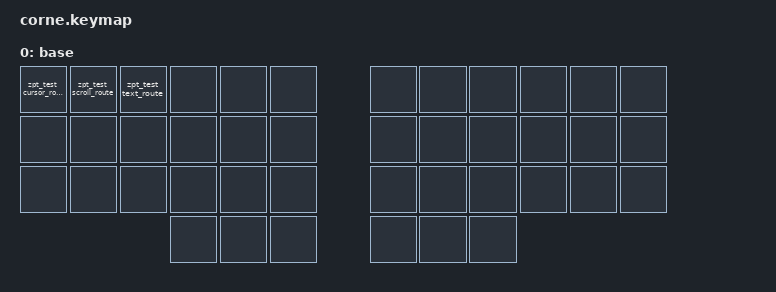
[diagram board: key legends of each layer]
#include <behaviors.dtsi>
#include <dt-bindings/zmk/keys.h>
#include <zephyr/dt-bindings/input/input-event-codes.h>

/ {
    zpt_test_keypress_guard: zpt_test_keypress_guard {
        compatible = "measlesbagel,zpt-keypress-suppression";
        suppress-after-keypress-ms = <40>;
    };

    /* Normalized cursor pipeline: counts to Q16 millimetres, motion gate,
     * acceleration, base gain, sub-pixel quantizer, and report coalescing. */
    zpt_test_resolution_normalize: zpt_test_resolution_normalize {
        compatible = "measlesbagel,zpt-stage-resolution-normalize";
        stable-id = "resolution-normalize";
    };

    zpt_test_motion_gate: zpt_test_motion_gate {
        compatible = "measlesbagel,zpt-stage-coherent-displacement";
        stable-id = "motion-gate";
        enabled;
        activation-distance-micrometers = <220>;
        coherence-percent = <60>;
        qualification-timeout-ms = <160>;
        idle-timeout-ms = <120>;
    };

    zpt_test_cursor_acceleration: zpt_test_cursor_acceleration {
        compatible = "measlesbagel,zpt-stage-cursor-acceleration";
        stable-id = "cursor-acceleration";
        /* Eight curve points: ball speed (mm/s) and sensitivity (percent). */
        curve-speeds-mm-per-s = <0 8 20 45 90 160 260 400>;
        curve-sensitivity-percent = <65 66 73 99 159 225 264 283>;
        speed-rise-ms = <10>;
        speed-fall-ms = <5>;
    };

    zpt_test_cursor_transfer: zpt_test_cursor_transfer {
        compatible = "measlesbagel,zpt-stage-cursor-transfer";
        stable-id = "cursor-transfer";
        scale-multiplier = <1>;
        scale-divisor = <1>;
    };

    zpt_test_cursor_quantizer: zpt_test_cursor_quantizer {
        compatible = "measlesbagel,zpt-stage-cursor-quantizer";
        stable-id = "cursor-quantizer";
    };

    zpt_test_cursor_coalescer: zpt_test_cursor_coalescer {
        compatible = "measlesbagel,zpt-stage-cursor-coalescer";
        stable-id = "cursor-coalescer";
        usb-report-interval-ms = <1>;
        ble-report-interval-ms = <8>;
    };

    zpt_test_cursor_sink: zpt_test_cursor_sink {
        compatible = "measlesbagel,zpt-sink-cursor";
        stable-id = "cursor";
    };

    zpt_test_cursor_pipeline: zpt_test_cursor_pipeline {
        compatible = "measlesbagel,zpt-pipeline";
        stable-id = "test-cursor";
        stages = <&zpt_test_resolution_normalize &zpt_test_motion_gate
                  &zpt_test_cursor_acceleration &zpt_test_cursor_transfer
                  &zpt_test_cursor_quantizer &zpt_test_cursor_coalescer>;
        sink = <&zpt_test_cursor_sink>;
    };

    /* Scroll pipeline: the same estimator and constraint over normalized
     * motion with a steps-per-metre transfer and a wheel sink. */
    zpt_test_scroll_resolution_normalize: zpt_test_scroll_resolution_normalize {
        compatible = "measlesbagel,zpt-stage-resolution-normalize";
        stable-id = "scroll-resolution-normalize";
    };

    zpt_test_scroll_axis_intent: zpt_test_scroll_axis_intent {
        compatible = "measlesbagel,zpt-stage-axis-intent";
        stable-id = "scroll-axis-intent";
        policy = <1>;
        engage-ratio-percent = <300>;
        release-ratio-percent = <180>;
        activation-distance-micrometers = <581>;
        window-ms = <64>;
        idle-timeout-ms = <120>;
        suppression = <&zpt_test_keypress_guard>;
    };

    zpt_test_scroll_constraint: zpt_test_scroll_constraint {
        compatible = "measlesbagel,zpt-stage-axis-constraint";
        stable-id = "scroll-constraint";
        discard-unclassified;
        idle-timeout-ms = <120>;
        fold-interval-ms = <16>;
        suppression = <&zpt_test_keypress_guard>;
    };

    zpt_test_scroll_batcher: zpt_test_scroll_batcher {
        compatible = "measlesbagel,zpt-stage-scroll-batcher";
        stable-id = "scroll-batcher";
        steps-per-meter = <3445>;
        report-interval-ms = <16>;
        suppression = <&zpt_test_keypress_guard>;
    };

    zpt_test_scroll_sink: zpt_test_scroll_sink {
        compatible = "measlesbagel,zpt-sink-scroll";
        stable-id = "scroll";
    };

    zpt_test_scroll_pipeline: zpt_test_scroll_pipeline {
        compatible = "measlesbagel,zpt-pipeline";
        stable-id = "test-scroll";
        stages = <&zpt_test_scroll_resolution_normalize &zpt_test_scroll_axis_intent
                  &zpt_test_scroll_constraint &zpt_test_scroll_batcher>;
        sink = <&zpt_test_scroll_sink>;
    };

    /* Text pipeline: the shared estimator and constraint over normalized
     * motion with a threshold-to-action mapper. */
    zpt_test_text_resolution_normalize: zpt_test_text_resolution_normalize {
        compatible = "measlesbagel,zpt-stage-resolution-normalize";
        stable-id = "text-resolution-normalize";
    };

    zpt_test_text_axis_intent: zpt_test_text_axis_intent {
        compatible = "measlesbagel,zpt-stage-axis-intent";
        stable-id = "text-axis-intent";
        policy = <1>;
        engage-ratio-percent = <150>;
        release-ratio-percent = <90>;
        activation-distance-micrometers = <1270>;
        window-ms = <32>;
        idle-timeout-ms = <40>;
        suppression = <&zpt_test_keypress_guard>;
    };

    zpt_test_text_constraint: zpt_test_text_constraint {
        compatible = "measlesbagel,zpt-stage-axis-constraint";
        stable-id = "text-constraint";
        discard-unclassified;
        idle-timeout-ms = <40>;
        suppression = <&zpt_test_keypress_guard>;
    };

    zpt_test_composed_text_nav: zpt_test_composed_text_nav {
        compatible = "measlesbagel,zpt-stage-text-nav";
        stable-id = "text-nav";
        horizontal-threshold-micrometers = <2721>;
        vertical-threshold-micrometers = <2721>;
        idle-timeout-ms = <40>;
    };

    zpt_test_action_sink: zpt_test_action_sink {
        compatible = "measlesbagel,zpt-sink-action";
        stable-id = "text";
        bindings = <&kp LEFT>, <&kp RIGHT>, <&kp UP>, <&kp DOWN>;
        tap-ms = <5>;
    };

    zpt_test_text_pipeline: zpt_test_text_pipeline {
        compatible = "measlesbagel,zpt-pipeline";
        stable-id = "test-text";
        stages = <&zpt_test_text_resolution_normalize &zpt_test_text_axis_intent
                  &zpt_test_text_constraint &zpt_test_composed_text_nav>;
        sink = <&zpt_test_action_sink>;
    };

    zpt_test_cursor_router: zpt_test_cursor_router {
        compatible = "measlesbagel,zpt-router";
        stable-id = "test-cursor-router";
        pipelines = <&zpt_test_cursor_pipeline &zpt_test_scroll_pipeline &zpt_test_text_pipeline>;
        default-pipeline = <&zpt_test_cursor_pipeline>;

        test-layer-route {
            /* Layer 0 is the only keymap layer; the route stays within range
             * and always selects the smoke cursor pipeline. */
            layers = <0>;
            pipeline = <&zpt_test_cursor_pipeline>;
        };
    };

    zpt_test_cursor_route: zpt_test_cursor_route {
        compatible = "measlesbagel,zpt-behavior-route";
        #binding-cells = <0>;
        router = <&zpt_test_cursor_router>;
        pipeline = <&zpt_test_cursor_pipeline>;
    };

    zpt_test_scroll_route: zpt_test_scroll_route {
        compatible = "measlesbagel,zpt-behavior-route";
        #binding-cells = <0>;
        router = <&zpt_test_cursor_router>;
        pipeline = <&zpt_test_scroll_pipeline>;
    };

    zpt_test_text_route: zpt_test_text_route {
        compatible = "measlesbagel,zpt-behavior-route";
        #binding-cells = <0>;
        router = <&zpt_test_cursor_router>;
        pipeline = <&zpt_test_text_pipeline>;
    };

    zpt_test_cursor_output: zpt_test_cursor_output {
        compatible = "zmk,input-listener";
        device = <&zpt_test_cursor_router>;
    };

    /* Compile both ends of the optional split codec and a compact-side
     * normalized cursor path without routing live motion through it. */
    zpt_test_compact_encoder: zpt_test_compact_encoder {
        compatible = "measlesbagel,zpt-input-processor-compact-split-encoder";
        #input-processor-cells = <0>;
        event-code = <INPUT_REL_Z>;
    };

    zpt_test_compact_resolution_normalize: zpt_test_compact_resolution_normalize {
        compatible = "measlesbagel,zpt-stage-resolution-normalize";
        stable-id = "compact-resolution-normalize";
    };

    zpt_test_compact_transfer: zpt_test_compact_transfer {
        compatible = "measlesbagel,zpt-stage-cursor-transfer";
        stable-id = "compact-transfer";
        scale-multiplier = <1>;
        scale-divisor = <1>;
    };

    zpt_test_compact_quantizer: zpt_test_compact_quantizer {
        compatible = "measlesbagel,zpt-stage-cursor-quantizer";
        stable-id = "compact-quantizer";
    };

    zpt_test_compact_sink: zpt_test_compact_sink {
        compatible = "measlesbagel,zpt-sink-cursor";
        stable-id = "compact-cursor";
    };

    zpt_test_compact_pipeline: zpt_test_compact_pipeline {
        compatible = "measlesbagel,zpt-pipeline";
        stable-id = "test-compact-cursor";
        stages = <&zpt_test_compact_resolution_normalize &zpt_test_compact_transfer
                  &zpt_test_compact_quantizer>;
        sink = <&zpt_test_compact_sink>;
    };

    zpt_test_compact_router: zpt_test_compact_router {
        compatible = "measlesbagel,zpt-router";
        stable-id = "test-compact-router";
        pipelines = <&zpt_test_compact_pipeline>;
        default-pipeline = <&zpt_test_compact_pipeline>;
    };

    zpt_test_compact_output: zpt_test_compact_output {
        compatible = "zmk,input-listener";
        device = <&zpt_test_compact_router>;
    };

    /* Physical pointing devices, one per half, declared identically for
     * both halves. Corne's left half is the central. The peripheral ball
     * names the split channel its motion rides, which routes CPI requests
     * to whichever half sends on it. Neither names a sensor: the smoke build has none, and a real keyboard adds
     * each sensor from its owning half's devicetree. The range matches the
     * PAW3222 driver, which applies multiples of 38 CPI. */
    zpt_test_central_ball: zpt_test_central_ball {
        compatible = "measlesbagel,zpt-pointing-device";
        stable-id = "central-ball";
        resolution-cpi = <684>;
        cpi-min = <608>;
        cpi-max = <4826>;
        cpi-step = <38>;
    };

    zpt_test_peripheral_ball: zpt_test_peripheral_ball {
        compatible = "measlesbagel,zpt-pointing-device";
        stable-id = "peripheral-ball";
        split-input = <&zpt_cpi_split>;
        resolution-cpi = <684>;
        cpi-min = <608>;
        cpi-max = <4826>;
        cpi-step = <38>;
    };

    /* Source ingress for both routers: a local native-axis source and a
     * transported compact-split source, each labelled with its device's
     * current resolution. Instantiated for build coverage of the
     * input-processor adapter; no listener feeds them live motion. */
    zpt_test_local_source: zpt_test_local_source {
        compatible = "measlesbagel,zpt-input-processor-source";
        #input-processor-cells = <0>;
        source-id = <1>;
        device = <&zpt_test_central_ball>;
        router = <&zpt_test_cursor_router>;
    };

    zpt_test_compact_source: zpt_test_compact_source {
        compatible = "measlesbagel,zpt-input-processor-source";
        #input-processor-cells = <0>;
        source-id = <2>;
        device = <&zpt_test_peripheral_ball>;
        router = <&zpt_test_compact_router>;
        transported;
        compact-event-code = <INPUT_REL_Z>;
        compact-transport-coalesced;
    };

    zpt_telemetry {
        compatible = "measlesbagel,zpt-telemetry";
    };

    /* Split sensor-control tunnel. The peripheral builds the agent
     * behavior, which serves CPI requests for devices whose sensor it has
     * and answers on the device's split-input channel; the central's proxy
     * listens on every channel and matches answers to its requests. This
     * smoke build has no peripheral sensor, so the peripheral ball gets a
     * channel of its own; a real keyboard points split-input at the channel
     * its sensor already uses. The channel needs some device, so it names
     * the kscan, which never reports input events. The agent's node name
     * must stay within 8 characters. */
    zpt_cpi: zpt_cpi {
        compatible = "measlesbagel,zpt-sensor-control";
        #binding-cells = <0>;
    };

    split_inputs {
        #address-cells = <1>;
        #size-cells = <0>;

        zpt_cpi_split: zpt_cpi_split@0 {
            compatible = "zmk,input-split";
            reg = <0>;
            device = <&kscan0>;
        };
    };

    zpt_cpi_proxy {
        compatible = "measlesbagel,zpt-sensor-control-proxy";
        agent = <&zpt_cpi>;
    };

    zpt_telemetry_pipeline {
        compatible = "measlesbagel,zpt-pipeline-telemetry";
        pipelines = <&zpt_test_cursor_pipeline &zpt_test_scroll_pipeline &zpt_test_text_pipeline>;
    };

    chosen {
        measlesbagel,zpt-telemetry-uart = &zpt_acm;
    };

    keymap {
        compatible = "zmk,keymap";
        base {
            bindings = <
                &zpt_test_cursor_route &zpt_test_scroll_route &zpt_test_text_route &none &none &none   &none &none &none &none &none &none
                &none &none &none &none &none &none   &none &none &none &none &none &none
                &none &none &none &none &none &none   &none &none &none &none &none &none
                                  &none &none &none   &none &none &none
            >;
        };
    };
};

&zephyr_udc0 {
    zpt_acm: zpt_acm {
        compatible = "zephyr,cdc-acm-uart";
    };
};
